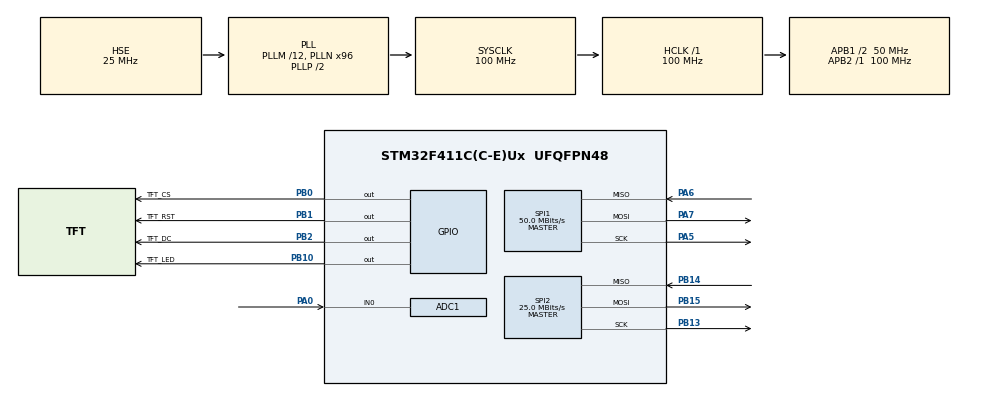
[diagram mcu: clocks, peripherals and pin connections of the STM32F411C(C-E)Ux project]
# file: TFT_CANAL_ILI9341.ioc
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ADC1.Channel-0\#ChannelRegularConversion=ADC_CHANNEL_0
ADC1.NbrOfConversionFlag=1
ADC1.Rank-0\#ChannelRegularConversion=1
ADC1.SamplingTime-0\#ChannelRegularConversion=ADC_SAMPLETIME_84CYCLES
ADC1.master=1
Dma.ADC1.0.Direction=DMA_PERIPH_TO_MEMORY
Dma.ADC1.0.FIFOMode=DMA_FIFOMODE_DISABLE
Dma.ADC1.0.Instance=DMA2_Stream0
Dma.ADC1.0.MemDataAlignment=DMA_MDATAALIGN_HALFWORD
Dma.ADC1.0.MemInc=DMA_MINC_ENABLE
Dma.ADC1.0.Mode=DMA_CIRCULAR
Dma.ADC1.0.PeriphDataAlignment=DMA_PDATAALIGN_HALFWORD
Dma.ADC1.0.PeriphInc=DMA_PINC_DISABLE
Dma.ADC1.0.Priority=DMA_PRIORITY_LOW
Dma.Request0=ADC1
Mcu.Family=STM32F4
Mcu.Name=STM32F411C(C-E)Ux
Mcu.Package=UFQFPN48
NVIC.DMA2_Stream0_IRQn=true\:0\:0\:false\:false\:true\:false\:true\:true
NVIC.PriorityGroup=NVIC_PRIORITYGROUP_4
PA0-WKUP.Signal=ADCx_IN0
PA5.Mode=Full_Duplex_Master
PA5.Signal=SPI1_SCK
PA6.Mode=Full_Duplex_Master
PA6.Signal=SPI1_MISO
PA7.Mode=Full_Duplex_Master
PA7.Signal=SPI1_MOSI
PB0.GPIO_Label=TFT_CS
PB0.Signal=GPIO_Output
PB1.GPIO_Label=TFT_RST
PB1.Signal=GPIO_Output
PB10.GPIO_Label=TFT_LED
PB10.Signal=GPIO_Output
PB13.Mode=Full_Duplex_Master
PB13.Signal=SPI2_SCK
PB14.Mode=Full_Duplex_Master
PB14.Signal=SPI2_MISO
PB15.Mode=Full_Duplex_Master
PB15.Signal=SPI2_MOSI
PB2.GPIO_Label=TFT_DC
PB2.Signal=GPIO_Output
PH0\ -\ OSC_IN.Mode=HSE-External-Oscillator
PH0\ -\ OSC_IN.Signal=RCC_OSC_IN
PH1\ -\ OSC_OUT.Mode=HSE-External-Oscillator
PH1\ -\ OSC_OUT.Signal=RCC_OSC_OUT
ProjectManager.HeapSize=0x200
ProjectManager.StackSize=0x400
ProjectManager.TargetToolchain=STM32CubeIDE
RCC.48MHZClocksFreq_Value=50000000
RCC.AHBFreq_Value=100000000
RCC.APB1CLKDivider=RCC_HCLK_DIV2
RCC.APB1Freq_Value=50000000
RCC.APB1TimFreq_Value=100000000
RCC.APB2Freq_Value=100000000
RCC.APB2TimFreq_Value=100000000
RCC.CortexFreq_Value=100000000
RCC.HCLKFreq_Value=100000000
RCC.HSE_VALUE=25000000
RCC.HSI_VALUE=16000000
RCC.LSE_VALUE=32768
RCC.PLLM=12
RCC.PLLN=96
RCC.PLLSourceVirtual=RCC_PLLSOURCE_HSE
RCC.SYSCLKFreq_VALUE=100000000
RCC.SYSCLKSource=RCC_SYSCLKSOURCE_PLLCLK
RCC.VCOOutputFreq_Value=200000000
SH.ADCx_IN0.0=ADC1_IN0,IN0
SPI1.CalculateBaudRate=50.0 MBits/s
SPI1.Direction=SPI_DIRECTION_2LINES
SPI1.Mode=SPI_MODE_MASTER
SPI1.VirtualType=VM_MASTER
SPI2.BaudRatePrescaler=SPI_BAUDRATEPRESCALER_2
SPI2.CalculateBaudRate=25.0 MBits/s
SPI2.Direction=SPI_DIRECTION_2LINES
SPI2.Mode=SPI_MODE_MASTER
SPI2.VirtualType=VM_MASTER
board=custom

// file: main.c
/* USER CODE BEGIN Header */
/**
  ******************************************************************************
  * @file           : main.c
  * @brief          : Main program body
  ******************************************************************************
  * @attention
  *
  * Copyright (c) 2025 STMicroelectronics.
  * All rights reserved.
  *
  * This software is licensed under terms that can be found in the LICENSE file
  * in the root directory of this software component.
  * If no LICENSE file comes with this software, it is provided AS-IS.
  *
  ******************************************************************************
  */
/* USER CODE END Header */
#include "main.h"

/* USER CODE BEGIN Includes */
#include "pinout.h"
#include "ILI9341.h"
#include "fonts.h"
#include "imagenes.h"
#include "DASHBOARD.h"
#include "adc_x.h"
/* USER CODE END Includes */

ADC_HandleTypeDef hadc1;
DMA_HandleTypeDef hdma_adc1;

SPI_HandleTypeDef hspi1;
SPI_HandleTypeDef hspi2;

/* USER CODE BEGIN PV */
float temp=10.5;
float velo=0;
float voltaje;
/* USER CODE END PV */

void SystemClock_Config(void);
static void MX_GPIO_Init(void);
static void MX_DMA_Init(void);
static void MX_SPI2_Init(void);
static void MX_SPI1_Init(void);
static void MX_ADC1_Init(void);

int main(void)
{

  /* MCU Configuration--------------------------------------------------------*/

  /* Reset of all peripherals, Initializes the Flash interface and the Systick. */
  HAL_Init();

  /* Configure the system clock */
  SystemClock_Config();

  /* Initialize all configured peripherals */
  MX_GPIO_Init();
  MX_DMA_Init();
  MX_SPI2_Init();
  MX_SPI1_Init();
  MX_ADC1_Init();
  /* USER CODE BEGIN 2 */

  //ENCENDER TFT
  PIN_ON(TFT_LED);
HAL_Delay(500);
  ILI9341_Init();
  HAL_Delay(50);

  ILI9341_direction(Horizontal);

  ILI9341_Clear(COLOR_BLUE);

  // drawFastHLine(50, 50, 50, COLOR_WHITE);
//  draw_fill_rectangle(100,100, 200, 200, COLOR_RED);
 //  draw_rectangle(100, 100, 200, 200, COLOR_YELLOW, 5);
 /* draw_bitmap(0, 0, 1,yo);
  HAL_Delay(50);
  draw_char(10, 10, 'A', COLOR_CYAN, font4);
draw_char_fondo(20, 200, 'R', COLOR_BLUE, COLOR_BEIGE, font2);
  draw_string(10, 50, "ALCIDES RAMOS", COLOR_WHITE, font2);
 */
/*
  grafica_init(&grafica1);
  grafica_draw_rango(&grafica1);
  grafica_draw_titulo(&grafica1, "ONDA SENO", COLOR_YELLOW, font1, titulo_arriba, titulo_centro);
  */
  uint16_t i=0;

   grafica_init(&grafica2);
  grafica_draw_rango(&grafica2);
   grafica_draw_titulo(&grafica2, "VOLTAJE", COLOR_YELLOW, font1, titulo_arriba, titulo_centro);

  //ADC_Read_DMA(&hadc1, adc1_canales, adc1_codigo);
  /* USER CODE END 2 */
  /* Infinite loop */
  /* USER CODE BEGIN WHILE */
while (1)
  {
	//  grafica_add_point(&grafica1, data_seno[i]);
     voltaje=ADC_Read(&hadc1)*3.3/4095.0;
	  grafica_add_point(&grafica2, voltaje);

	i++;
	  if (i>=200)  i=0;
	  HAL_Delay(100); // Velocidad de muestreo
  }

  while (1)
  {

	     barrav1.value=temp;
	      barrah1.value=temp;
	      barrav_draw(&barrav1);
	      barrah_draw(&barrah1);

	       gauge1.value=velo;
	       gauge_draw_arc(&gauge1);

	 	  temp+=2.2;
	 	  if(temp>50) temp=0;

	 	  velo+=8;
	 	  if(velo>100) velo=0;

	 	  led1.estado=1;
	 	  led2.estado=0;
	 	  led_draw(&led1);
	 	  led_draw1(&led2);
	 	  HAL_Delay(200);

	 	      led1.estado=0;
	 	  	  led2.estado=1;
	 	  	  led_draw(&led1);
	 	  	  led_draw1(&led2);
	 	  	  HAL_Delay(200);

    /* USER CODE END WHILE */

  }
}

void SystemClock_Config(void)
{
  RCC_OscInitTypeDef RCC_OscInitStruct = {0};
  RCC_ClkInitTypeDef RCC_ClkInitStruct = {0};

  /** Configure the main internal regulator output voltage
  */
  __HAL_RCC_PWR_CLK_ENABLE();
  __HAL_PWR_VOLTAGESCALING_CONFIG(PWR_REGULATOR_VOLTAGE_SCALE1);

  /** Initializes the RCC Oscillators according to the specified parameters
  * in the RCC_OscInitTypeDef structure.
  */
  RCC_OscInitStruct.OscillatorType = RCC_OSCILLATORTYPE_HSE;
  RCC_OscInitStruct.HSEState = RCC_HSE_ON;
  RCC_OscInitStruct.PLL.PLLState = RCC_PLL_ON;
  RCC_OscInitStruct.PLL.PLLSource = RCC_PLLSOURCE_HSE;
  RCC_OscInitStruct.PLL.PLLM = 12;
  RCC_OscInitStruct.PLL.PLLN = 96;
  RCC_OscInitStruct.PLL.PLLP = RCC_PLLP_DIV2;
  RCC_OscInitStruct.PLL.PLLQ = 4;
  if (HAL_RCC_OscConfig(&RCC_OscInitStruct) != HAL_OK)
  {
    Error_Handler();
  }

  /** Initializes the CPU, AHB and APB buses clocks
  */
  RCC_ClkInitStruct.ClockType = RCC_CLOCKTYPE_HCLK|RCC_CLOCKTYPE_SYSCLK
                              |RCC_CLOCKTYPE_PCLK1|RCC_CLOCKTYPE_PCLK2;
  RCC_ClkInitStruct.SYSCLKSource = RCC_SYSCLKSOURCE_PLLCLK;
  RCC_ClkInitStruct.AHBCLKDivider = RCC_SYSCLK_DIV1;
  RCC_ClkInitStruct.APB1CLKDivider = RCC_HCLK_DIV2;
  RCC_ClkInitStruct.APB2CLKDivider = RCC_HCLK_DIV1;

  if (HAL_RCC_ClockConfig(&RCC_ClkInitStruct, FLASH_LATENCY_3) != HAL_OK)
  {
    Error_Handler();
  }
}

static void MX_ADC1_Init(void)
{

  ADC_ChannelConfTypeDef sConfig = {0};

  /** Configure the global features of the ADC (Clock, Resolution, Data Alignment and number of conversion)
  */
  hadc1.Instance = ADC1;
  hadc1.Init.ClockPrescaler = ADC_CLOCK_SYNC_PCLK_DIV4;
  hadc1.Init.Resolution = ADC_RESOLUTION_12B;
  hadc1.Init.ScanConvMode = DISABLE;
  hadc1.Init.ContinuousConvMode = DISABLE;
  hadc1.Init.DiscontinuousConvMode = DISABLE;
  hadc1.Init.ExternalTrigConvEdge = ADC_EXTERNALTRIGCONVEDGE_NONE;
  hadc1.Init.ExternalTrigConv = ADC_SOFTWARE_START;
  hadc1.Init.DataAlign = ADC_DATAALIGN_RIGHT;
  hadc1.Init.NbrOfConversion = 1;
  hadc1.Init.DMAContinuousRequests = DISABLE;
  hadc1.Init.EOCSelection = ADC_EOC_SINGLE_CONV;
  if (HAL_ADC_Init(&hadc1) != HAL_OK)
  {
    Error_Handler();
  }

  /** Configure for the selected ADC regular channel its corresponding rank in the sequencer and its sample time.
  */
  sConfig.Channel = ADC_CHANNEL_0;
  sConfig.Rank = 1;
  sConfig.SamplingTime = ADC_SAMPLETIME_84CYCLES;
  if (HAL_ADC_ConfigChannel(&hadc1, &sConfig) != HAL_OK)
  {
    Error_Handler();
  }

}

static void MX_SPI1_Init(void)
{

  /* SPI1 parameter configuration*/
  hspi1.Instance = SPI1;
  hspi1.Init.Mode = SPI_MODE_MASTER;
  hspi1.Init.Direction = SPI_DIRECTION_2LINES;
  hspi1.Init.DataSize = SPI_DATASIZE_8BIT;
  hspi1.Init.CLKPolarity = SPI_POLARITY_LOW;
  hspi1.Init.CLKPhase = SPI_PHASE_1EDGE;
  hspi1.Init.NSS = SPI_NSS_SOFT;
  hspi1.Init.BaudRatePrescaler = SPI_BAUDRATEPRESCALER_2;
  hspi1.Init.FirstBit = SPI_FIRSTBIT_MSB;
  hspi1.Init.TIMode = SPI_TIMODE_DISABLE;
  hspi1.Init.CRCCalculation = SPI_CRCCALCULATION_DISABLE;
  hspi1.Init.CRCPolynomial = 10;
  if (HAL_SPI_Init(&hspi1) != HAL_OK)
  {
    Error_Handler();
  }

}

static void MX_SPI2_Init(void)
{

  /* SPI2 parameter configuration*/
  hspi2.Instance = SPI2;
  hspi2.Init.Mode = SPI_MODE_MASTER;
  hspi2.Init.Direction = SPI_DIRECTION_2LINES;
  hspi2.Init.DataSize = SPI_DATASIZE_8BIT;
  hspi2.Init.CLKPolarity = SPI_POLARITY_LOW;
  hspi2.Init.CLKPhase = SPI_PHASE_1EDGE;
  hspi2.Init.NSS = SPI_NSS_SOFT;
  hspi2.Init.BaudRatePrescaler = SPI_BAUDRATEPRESCALER_2;
  hspi2.Init.FirstBit = SPI_FIRSTBIT_MSB;
  hspi2.Init.TIMode = SPI_TIMODE_DISABLE;
  hspi2.Init.CRCCalculation = SPI_CRCCALCULATION_DISABLE;
  hspi2.Init.CRCPolynomial = 10;
  if (HAL_SPI_Init(&hspi2) != HAL_OK)
  {
    Error_Handler();
  }

}

static void MX_DMA_Init(void)
{

  /* DMA controller clock enable */
  __HAL_RCC_DMA2_CLK_ENABLE();

  /* DMA interrupt init */
  /* DMA2_Stream0_IRQn interrupt configuration */
  HAL_NVIC_SetPriority(DMA2_Stream0_IRQn, 0, 0);
  HAL_NVIC_EnableIRQ(DMA2_Stream0_IRQn);

}

static void MX_GPIO_Init(void)
{
  GPIO_InitTypeDef GPIO_InitStruct = {0};

  /* GPIO Ports Clock Enable */
  __HAL_RCC_GPIOH_CLK_ENABLE();
  __HAL_RCC_GPIOA_CLK_ENABLE();
  __HAL_RCC_GPIOB_CLK_ENABLE();

  /*Configure GPIO pin Output Level */
  HAL_GPIO_WritePin(GPIOB, TFT_CS_Pin|TFT_RST_Pin|TFT_DC_Pin|TFT_LED_Pin, GPIO_PIN_RESET);

  /*Configure GPIO pins : TFT_CS_Pin TFT_RST_Pin TFT_DC_Pin TFT_LED_Pin */
  GPIO_InitStruct.Pin = TFT_CS_Pin|TFT_RST_Pin|TFT_DC_Pin|TFT_LED_Pin;
  GPIO_InitStruct.Mode = GPIO_MODE_OUTPUT_PP;
  GPIO_InitStruct.Pull = GPIO_NOPULL;
  GPIO_InitStruct.Speed = GPIO_SPEED_FREQ_LOW;
  HAL_GPIO_Init(GPIOB, &GPIO_InitStruct);

}

void Error_Handler(void)
{
  __disable_irq();
  while (1)
  {
  }
}
